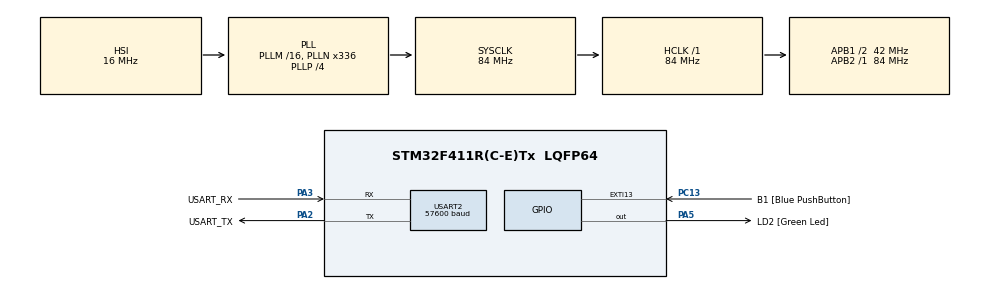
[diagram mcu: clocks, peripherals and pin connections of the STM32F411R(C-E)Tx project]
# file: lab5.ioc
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Mcu.Family=STM32F4
Mcu.Name=STM32F411R(C-E)Tx
Mcu.Package=LQFP64
NVIC.PriorityGroup=NVIC_PRIORITYGROUP_0
NVIC.USART2_IRQn=true\:0\:0\:false\:false\:true\:true\:true\:true
PA13.GPIO_Label=TMS
PA13.Mode=Serial_Wire
PA13.Signal=SYS_JTMS-SWDIO
PA14.GPIO_Label=TCK
PA14.Mode=Serial_Wire
PA14.Signal=SYS_JTCK-SWCLK
PA2.GPIO_Label=USART_TX
PA2.Mode=Asynchronous
PA2.Signal=USART2_TX
PA3.GPIO_Label=USART_RX
PA3.Mode=Asynchronous
PA3.Signal=USART2_RX
PA5.GPIO_Label=LD2 [Green Led]
PA5.Signal=GPIO_Output
PB3.GPIO_Label=SWO
PB3.Signal=SYS_JTDO-SWO
PC13-ANTI_TAMP.GPIO_Label=B1 [Blue PushButton]
PC13-ANTI_TAMP.GPIO_ModeDefaultEXTI=GPIO_MODE_IT_FALLING
PC13-ANTI_TAMP.Signal=GPXTI13
PC14-OSC32_IN.Mode=LSE-External-Oscillator
PC14-OSC32_IN.Signal=RCC_OSC32_IN
PC15-OSC32_OUT.Mode=LSE-External-Oscillator
PC15-OSC32_OUT.Signal=RCC_OSC32_OUT
PH0\ -\ OSC_IN.Mode=HSE-External-Clock-Source
PH0\ -\ OSC_IN.Signal=RCC_OSC_IN
PH1\ -\ OSC_OUT.Mode=HSE-External-Clock-Source
PH1\ -\ OSC_OUT.Signal=RCC_OSC_OUT
ProjectManager.HeapSize=0x200
ProjectManager.StackSize=0x400
ProjectManager.TargetToolchain=STM32CubeIDE
RCC.48MHZClocksFreq_Value=84000000
RCC.AHBFreq_Value=84000000
RCC.APB1CLKDivider=RCC_HCLK_DIV2
RCC.APB1Freq_Value=42000000
RCC.APB1TimFreq_Value=84000000
RCC.APB2Freq_Value=84000000
RCC.APB2TimFreq_Value=84000000
RCC.CortexFreq_Value=84000000
RCC.FLatency-AdvancedSettings=FLASH_LATENCY_2
RCC.HCLKFreq_Value=84000000
RCC.HSE_VALUE=8000000
RCC.HSI_VALUE=16000000
RCC.PLLN=336
RCC.PLLP=RCC_PLLP_DIV4
RCC.SYSCLKFreq_VALUE=84000000
RCC.SYSCLKSource=RCC_SYSCLKSOURCE_PLLCLK
RCC.VCOOutputFreq_Value=336000000
USART2.BaudRate=57600
USART2.VirtualMode=VM_ASYNC
board=NUCLEO-F411RE

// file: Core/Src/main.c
/* USER CODE BEGIN Header */
/**
  ******************************************************************************
  * @file           : main.c
  * @brief          : Main program body
  ******************************************************************************
  * @attention
  *
  * Copyright (c) 2023 STMicroelectronics.
  * All rights reserved.
  *
  * This software is licensed under terms that can be found in the LICENSE file
  * in the root directory of this software component.
  * If no LICENSE file comes with this software, it is provided AS-IS.
  *
  ******************************************************************************
  */
/* USER CODE END Header */
#include "main.h"

/* USER CODE BEGIN Includes */
#include "stdio.h"
#include "string.h"
/* USER CODE END Includes */

UART_HandleTypeDef huart2;

/* USER CODE BEGIN PV */
uint8_t rx_buf[1];
uint8_t tx_buf[100];
float led_spd = 50;
uint8_t state = 0;
uint8_t action = 1;
uint8_t led_off = 0;
uint8_t button_state = 0;
uint8_t ledfreq = 10;
uint8_t startup = 0;
uint16_t led_buf[2];
uint8_t str[110];
uint8_t str2[110];
static uint32_t timestamp2 = 0;

/* USER CODE END PV */

void SystemClock_Config(void);
static void MX_GPIO_Init(void);
static void MX_USART2_UART_Init(void);
/* USER CODE BEGIN PFP */
void uart_poll();
void led();
void uart_it_conf();
void fsm();
void clrtx();
/* USER CODE END PFP */

int main(void)
{

  /* MCU Configuration--------------------------------------------------------*/

  /* Reset of all peripherals, Initializes the Flash interface and the Systick. */
  HAL_Init();

  /* Configure the system clock */
  SystemClock_Config();

  /* Initialize all configured peripherals */
  MX_GPIO_Init();
  MX_USART2_UART_Init();
  /* USER CODE BEGIN 2 */
  sprintf(str, "\n\n\n\n\n\n\n\n\n\n\rAvailable Options\r\na : Speed Up +1Hz\r\ns : Speed Down -1Hz\r\nd : On/Off\r\nx : Back\r\nLED Frequency : %d", ledfreq);
//  uint8_t text[] = "\r\nHELLO FIBO\r\n";
//  HAL_UART_Transmit(&huart2, text, 13, 10);
  //uart_it_conf();
  /* USER CODE END 2 */

  /* Infinite loop */
  /* USER CODE BEGIN WHILE */
  while (1)
  {
	  //uart_poll();

	  HAL_UART_Receive_IT(&huart2, rx_buf, 1);
	  led();
	  fsm();

    /* USER CODE END WHILE */

  }
}

void SystemClock_Config(void)
{
  RCC_OscInitTypeDef RCC_OscInitStruct = {0};
  RCC_ClkInitTypeDef RCC_ClkInitStruct = {0};

  /** Configure the main internal regulator output voltage
  */
  __HAL_RCC_PWR_CLK_ENABLE();
  __HAL_PWR_VOLTAGESCALING_CONFIG(PWR_REGULATOR_VOLTAGE_SCALE1);

  /** Initializes the RCC Oscillators according to the specified parameters
  * in the RCC_OscInitTypeDef structure.
  */
  RCC_OscInitStruct.OscillatorType = RCC_OSCILLATORTYPE_HSI;
  RCC_OscInitStruct.HSIState = RCC_HSI_ON;
  RCC_OscInitStruct.HSICalibrationValue = RCC_HSICALIBRATION_DEFAULT;
  RCC_OscInitStruct.PLL.PLLState = RCC_PLL_ON;
  RCC_OscInitStruct.PLL.PLLSource = RCC_PLLSOURCE_HSI;
  RCC_OscInitStruct.PLL.PLLM = 16;
  RCC_OscInitStruct.PLL.PLLN = 336;
  RCC_OscInitStruct.PLL.PLLP = RCC_PLLP_DIV4;
  RCC_OscInitStruct.PLL.PLLQ = 4;
  if (HAL_RCC_OscConfig(&RCC_OscInitStruct) != HAL_OK)
  {
    Error_Handler();
  }

  /** Initializes the CPU, AHB and APB buses clocks
  */
  RCC_ClkInitStruct.ClockType = RCC_CLOCKTYPE_HCLK|RCC_CLOCKTYPE_SYSCLK
                              |RCC_CLOCKTYPE_PCLK1|RCC_CLOCKTYPE_PCLK2;
  RCC_ClkInitStruct.SYSCLKSource = RCC_SYSCLKSOURCE_PLLCLK;
  RCC_ClkInitStruct.AHBCLKDivider = RCC_SYSCLK_DIV1;
  RCC_ClkInitStruct.APB1CLKDivider = RCC_HCLK_DIV2;
  RCC_ClkInitStruct.APB2CLKDivider = RCC_HCLK_DIV1;

  if (HAL_RCC_ClockConfig(&RCC_ClkInitStruct, FLASH_LATENCY_2) != HAL_OK)
  {
    Error_Handler();
  }
}

static void MX_USART2_UART_Init(void)
{

  huart2.Instance = USART2;
  huart2.Init.BaudRate = 57600;
  huart2.Init.WordLength = UART_WORDLENGTH_8B;
  huart2.Init.StopBits = UART_STOPBITS_1;
  huart2.Init.Parity = UART_PARITY_NONE;
  huart2.Init.Mode = UART_MODE_TX_RX;
  huart2.Init.HwFlowCtl = UART_HWCONTROL_NONE;
  huart2.Init.OverSampling = UART_OVERSAMPLING_16;
  if (HAL_UART_Init(&huart2) != HAL_OK)
  {
    Error_Handler();
  }

}

static void MX_GPIO_Init(void)
{
  GPIO_InitTypeDef GPIO_InitStruct = {0};

  /* GPIO Ports Clock Enable */
  __HAL_RCC_GPIOC_CLK_ENABLE();
  __HAL_RCC_GPIOH_CLK_ENABLE();
  __HAL_RCC_GPIOA_CLK_ENABLE();
  __HAL_RCC_GPIOB_CLK_ENABLE();

  /*Configure GPIO pin Output Level */
  HAL_GPIO_WritePin(LD2_GPIO_Port, LD2_Pin, GPIO_PIN_RESET);

  /*Configure GPIO pin : B1_Pin */
  GPIO_InitStruct.Pin = B1_Pin;
  GPIO_InitStruct.Mode = GPIO_MODE_IT_FALLING;
  GPIO_InitStruct.Pull = GPIO_NOPULL;
  HAL_GPIO_Init(B1_GPIO_Port, &GPIO_InitStruct);

  /*Configure GPIO pin : LD2_Pin */
  GPIO_InitStruct.Pin = LD2_Pin;
  GPIO_InitStruct.Mode = GPIO_MODE_OUTPUT_PP;
  GPIO_InitStruct.Pull = GPIO_NOPULL;
  GPIO_InitStruct.Speed = GPIO_SPEED_FREQ_LOW;
  HAL_GPIO_Init(LD2_GPIO_Port, &GPIO_InitStruct);

}

/* USER CODE BEGIN 4 */
void HAL_UART_RxCpltCallback(UART_HandleTypeDef *huart){action = 0;}
void fsm(){
	switch(state){
	case 0:
		//sprintf base menu
		if(startup == 0){
			HAL_UART_Transmit_IT(&huart2,"\n\n\n\n\n\n\n\n\n\n\rAvailable Options\r\n0 : LED Control\r\n1 : Button Status\r\n", 66);
			startup = 1;
		}
		if(action == 0 && rx_buf[0] == '0'){
			action = 1;
			HAL_UART_Transmit_IT(&huart2,"\n\n\n\n\n\n\n\n\n\n\rAvailable Options\r\na : Speed Up +1Hz\r\ns : Speed Down -1Hz\r\nd : On/Off\r\nx : Back\r\n", 92);
			state = 1;
		}
		else if(action == 0 && rx_buf[0] == '1'){
			action = 1;
			HAL_UART_Transmit_IT(&huart2,"\n\n\n\n\n\n\n\n\n\n\rAvailable Options\r\nx : Back\r\n", 40);
			state = 2;
		}
		else if(action == 0 && rx_buf[0] != '1' && rx_buf[0] != '0'){
			action = 1;
			//HAL_UART_Transmit_IT(&huart2,"\n\n\n\n\n\n\n\n\n\n\rAvailable Options\r\n0 : LED Control\r\n1 : Button Status\r\n", 66);
			HAL_UART_Transmit_IT(&huart2,"Wrong Button Pressed!\r\n", 23);
		}
		break;
	case 1:
		//led control menu
		if(action == 0 && rx_buf[0] == 'x'){
			action = 1;
			state = 0;
			HAL_UART_Transmit_IT(&huart2,"\n\n\n\n\n\n\n\n\n\n\rAvailable Options\r\n0 : LED Control\r\n1 : Button Status\r\n", 66);
		}
		else if(action == 0 && rx_buf[0] == 'a'){
			action = 1;
			led_spd = (500*led_spd)/(500+led_spd);
			ledfreq = ceil(500/led_spd);
			sprintf(str, "\n\n\n\n\n\n\n\n\n\n\rAvailable Options\r\na : Speed Up +1Hz\r\ns : Speed Down -1Hz\r\nd : On/Off\r\nx : Back\r\nLED Frequency : %d", ledfreq);
			//HAL_UART_Transmit_IT(&huart2,"\n\n\n\n\n\n\n\n\n\n\rAvailable Options\r\na : Speed Up +1Hz\r\ns : Speed Down -1Hz\r\nd : On/Off\r\nx : Back\r\nLED Frequency : ", 108);
			HAL_UART_Transmit_IT(&huart2, str, 110);

		}
		else if(action == 0 && rx_buf[0] == 's'){
			action = 1;
			led_spd = (500*led_spd)/(500-led_spd);
			ledfreq = ceil(500/led_spd);
			sprintf(str, "\n\n\n\n\n\n\n\n\n\n\rAvailable Options\r\na : Speed Up +1Hz\r\ns : Speed Down -1Hz\r\nd : On/Off\r\nx : Back\r\nLED Frequency : %d", ledfreq);
			//HAL_UART_Transmit_IT(&huart2,"\n\n\n\n\n\n\n\n\n\n\rAvailable Options\r\na : Speed Up +1Hz\r\ns : Speed Down -1Hz\r\nd : On/Off\r\nx : Back\r\nLED Frequency : ", 108);
			//HAL_UART_Transmit_IT(&huart2, str, 2);
			HAL_UART_Transmit_IT(&huart2, str, 110);
		}
		else if(action == 0 && rx_buf[0] == 'd'){
			action = 1;

			if(led_off == 0){
				led_off = 1;
				HAL_UART_Transmit_IT(&huart2,"\n\n\n\n\n\n\n\n\n\n\rAvailable Options\r\na : Speed Up +1Hz\r\ns : Speed Down -1Hz\r\nd : On/Off\r\nx : Back\r\nLED Turned Off!\r", 109);
			}
			else if(led_off == 1){
				led_off = 0;
				HAL_UART_Transmit_IT(&huart2,"\n\n\n\n\n\n\n\n\n\n\rAvailable Options\r\na : Speed Up +1Hz\r\ns : Speed Down -1Hz\r\nd : On/Off\r\nx : Back\r\nLED Turned On!\r", 108);
			}
		}
		else if(action == 0 && rx_buf[0] != 'x' && rx_buf[0] != 'a' && rx_buf[0] != 's' && rx_buf[0] != 'd'){
			//sprintf no button
			action = 1;
			HAL_UART_Transmit_IT(&huart2,"Wrong Button Pressed!\r\n", 23);
		}
		break;
	case 2:
		//read button state
		//sprint show button menu
		button_state = HAL_GPIO_ReadPin(GPIOC, GPIO_PIN_13);
		if(HAL_GetTick()>=timestamp2){
			timestamp2 = HAL_GetTick()+250;
			if(button_state == 0){
				HAL_UART_Transmit_IT(&huart2,"\n\n\n\n\n\n\n\n\n\n\rButton Status : Pressed\r\n\nAvailable Options\r\nx : Back\r\n\r", 67);
			}
			else if(button_state == 1){
				HAL_UART_Transmit_IT(&huart2,"\n\n\n\n\n\n\n\n\n\n\rButton Status : Not Pressed\r\n\nAvailable Options\r\nx : Back\r\n\r", 71);
			}
		}

		if(action == 0 && rx_buf[0] == 'x'){
			action = 1;
			state = 0;
			HAL_UART_Transmit_IT(&huart2,"\n\n\n\n\n\n\n\n\n\n\rAvailable Options\r\n0 : LED Control\r\n1 : Button Status\r\n", 66);
		}
		else if(action == 0 && rx_buf[0] != 'x'){
			action = 1;
			HAL_UART_Transmit_IT(&huart2,"Wrong Button Pressed!\r\n", 23);
		}
		break;
	}
}

void led(){
	static uint32_t timestamp = 0;
	if(led_spd > 60000){
		led_spd = 1000;
	}
	if(HAL_GetTick()>=timestamp && led_off == 0){
		timestamp = HAL_GetTick()+led_spd;
		HAL_GPIO_TogglePin(LD2_GPIO_Port, LD2_Pin);
	}
	if(led_off == 1){
		HAL_GPIO_WritePin(LD2_GPIO_Port, LD2_Pin, 0);

	}
}
/* USER CODE END 4 */

void Error_Handler(void)
{
  __disable_irq();
  while (1)
  {
  }
}
